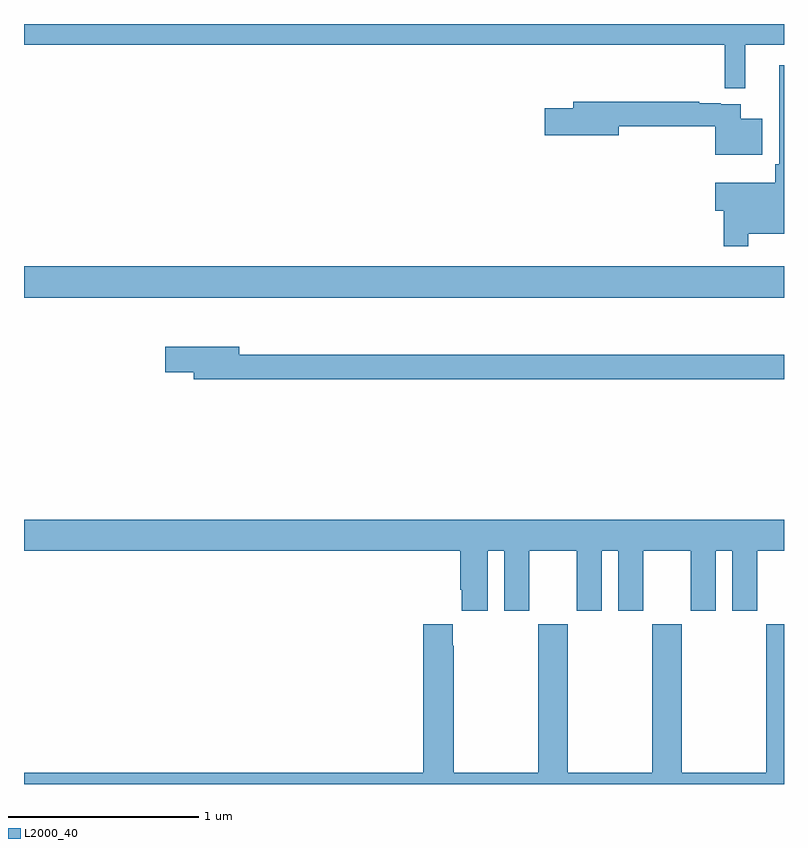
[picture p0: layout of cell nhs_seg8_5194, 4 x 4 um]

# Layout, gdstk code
import gdstk
lib = gdstk.Library(unit=1e-6, precision=1e-09)
def R(c, l, rs):  # rectangles x0, y0, x1, y1
    for r in rs: c.add(gdstk.rectangle(r[:2], r[2:], *l))
def P(c, l, *ps):  # polygons
    for p in ps: c.add(gdstk.Polygon(p, *l))
L2000_40 = (2000, 40)

nhs_seg8_5194 = lib.new_cell('nhs_seg8_5194')
R(nhs_seg8_5194, L2000_40, [(423,1156.46,427,1156.624)])
P(nhs_seg8_5194, L2000_40, [(426.797,1157.792),(427,1157.792),(427,1157.9),(423,1157.9),(423,1157.792),(426.688,1157.792),(426.688,1157.563),(426.797,1157.563)],
  [(426.811,1156.796),(427,1156.796),(427,1157.683),(426.975,1157.683),(426.975,1157.161),(426.955,1157.161),(426.955,1157.065),(426.638,1157.065),(426.638,1156.918),(426.682,1156.918),(426.682,1156.731),(426.811,1156.731)],
  [(426.886,1157.401),(426.772,1157.401),(426.772,1157.478),(426.668,1157.478),(426.668,1157.484),(426.554,1157.484),(426.554,1157.491),(425.891,1157.491),(425.891,1157.457),(425.742,1157.457),(425.742,1157.315),(426.13,1157.315),(426.13,1157.362),(426.638,1157.362),(426.638,1157.213),(426.886,1157.213)],
  [(427,1156.159),(424.132,1156.159),(424.132,1156.201),(423.744,1156.201),(423.744,1156.067),(423.893,1156.067),(423.893,1156.03),(427,1156.03)],
  [(423,1155.128),(425.297,1155.128),(425.297,1154.923),(425.303,1154.923),(425.303,1154.811),(425.44,1154.811),(425.44,1155.128),(425.528,1155.128),(425.528,1154.811),(425.659,1154.811),(425.659,1155.128),(425.909,1155.128),(425.909,1154.811),(426.04,1154.811),(426.04,1155.128),(426.128,1155.128),(426.128,1154.811),(426.259,1154.811),(426.259,1155.128),(426.509,1155.128),(426.509,1154.811),(426.64,1154.811),(426.64,1155.128),(426.728,1155.128),(426.728,1154.811),(426.859,1154.811),(426.859,1155.128),(427,1155.128),(427,1155.292),(423,1155.292)],
  [(426.307,1154.74),(426.307,1153.96),(425.862,1153.96),(425.862,1154.74),(425.707,1154.74),(425.707,1153.96),(425.262,1153.96),(425.262,1154.627),(425.257,1154.627),(425.257,1154.74),(425.102,1154.74),(425.102,1153.96),(423,1153.96),(423,1153.9),(427,1153.9),(427,1154.74),(426.907,1154.74),(426.907,1153.96),(426.462,1153.96),(426.462,1154.74)])

lib.write_gds('nhs_seg8_5194.gds')
